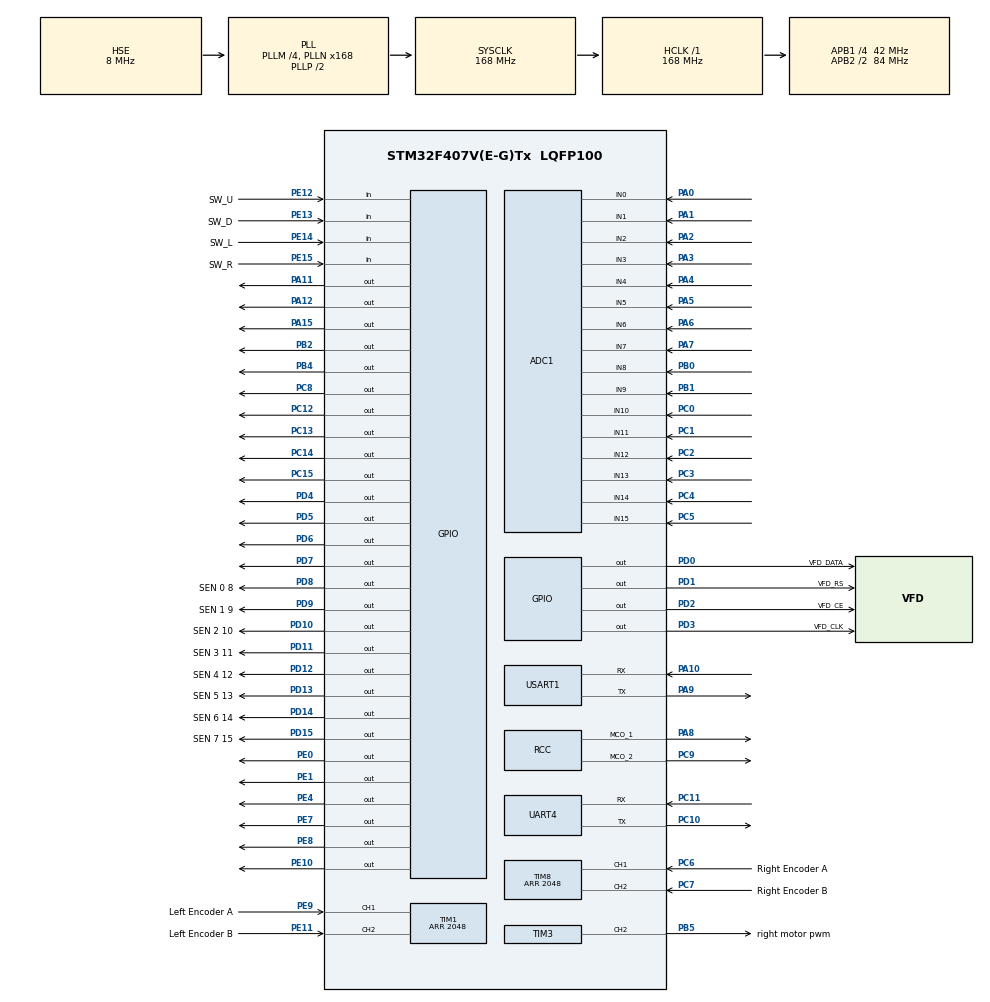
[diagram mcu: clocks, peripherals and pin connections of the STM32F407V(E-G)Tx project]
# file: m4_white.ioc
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ADC1.Channel-0\#ChannelRegularConversion=ADC_CHANNEL_0
ADC1.Channel-1\#ChannelRegularConversion=ADC_CHANNEL_1
ADC1.Channel-10\#ChannelRegularConversion=ADC_CHANNEL_10
ADC1.Channel-11\#ChannelRegularConversion=ADC_CHANNEL_11
ADC1.Channel-12\#ChannelRegularConversion=ADC_CHANNEL_12
ADC1.Channel-13\#ChannelRegularConversion=ADC_CHANNEL_13
ADC1.Channel-14\#ChannelRegularConversion=ADC_CHANNEL_14
ADC1.Channel-15\#ChannelRegularConversion=ADC_CHANNEL_15
ADC1.Channel-2\#ChannelRegularConversion=ADC_CHANNEL_2
ADC1.Channel-3\#ChannelRegularConversion=ADC_CHANNEL_3
ADC1.Channel-4\#ChannelRegularConversion=ADC_CHANNEL_4
ADC1.Channel-5\#ChannelRegularConversion=ADC_CHANNEL_5
ADC1.Channel-6\#ChannelRegularConversion=ADC_CHANNEL_6
ADC1.Channel-7\#ChannelRegularConversion=ADC_CHANNEL_7
ADC1.Channel-8\#ChannelRegularConversion=ADC_CHANNEL_8
ADC1.Channel-9\#ChannelRegularConversion=ADC_CHANNEL_9
ADC1.ContinuousConvMode=ENABLE
ADC1.DMAContinuousRequests=ENABLE
ADC1.EOCSelection=ADC_EOC_SEQ_CONV
ADC1.NbrOfConversion=16
ADC1.NbrOfConversionFlag=1
ADC1.Rank-0\#ChannelRegularConversion=1
ADC1.Rank-1\#ChannelRegularConversion=2
ADC1.Rank-10\#ChannelRegularConversion=11
ADC1.Rank-11\#ChannelRegularConversion=12
ADC1.Rank-12\#ChannelRegularConversion=13
ADC1.Rank-13\#ChannelRegularConversion=14
ADC1.Rank-14\#ChannelRegularConversion=15
ADC1.Rank-15\#ChannelRegularConversion=16
ADC1.Rank-2\#ChannelRegularConversion=3
ADC1.Rank-3\#ChannelRegularConversion=4
ADC1.Rank-4\#ChannelRegularConversion=5
ADC1.Rank-5\#ChannelRegularConversion=6
ADC1.Rank-6\#ChannelRegularConversion=7
ADC1.Rank-7\#ChannelRegularConversion=8
ADC1.Rank-8\#ChannelRegularConversion=9
ADC1.Rank-9\#ChannelRegularConversion=10
ADC1.SamplingTime-0\#ChannelRegularConversion=ADC_SAMPLETIME_28CYCLES
ADC1.SamplingTime-1\#ChannelRegularConversion=ADC_SAMPLETIME_28CYCLES
ADC1.SamplingTime-10\#ChannelRegularConversion=ADC_SAMPLETIME_28CYCLES
ADC1.SamplingTime-11\#ChannelRegularConversion=ADC_SAMPLETIME_28CYCLES
ADC1.SamplingTime-12\#ChannelRegularConversion=ADC_SAMPLETIME_28CYCLES
ADC1.SamplingTime-13\#ChannelRegularConversion=ADC_SAMPLETIME_28CYCLES
ADC1.SamplingTime-14\#ChannelRegularConversion=ADC_SAMPLETIME_28CYCLES
ADC1.SamplingTime-15\#ChannelRegularConversion=ADC_SAMPLETIME_28CYCLES
ADC1.SamplingTime-2\#ChannelRegularConversion=ADC_SAMPLETIME_28CYCLES
ADC1.SamplingTime-3\#ChannelRegularConversion=ADC_SAMPLETIME_28CYCLES
ADC1.SamplingTime-4\#ChannelRegularConversion=ADC_SAMPLETIME_28CYCLES
ADC1.SamplingTime-5\#ChannelRegularConversion=ADC_SAMPLETIME_28CYCLES
ADC1.SamplingTime-6\#ChannelRegularConversion=ADC_SAMPLETIME_28CYCLES
ADC1.SamplingTime-7\#ChannelRegularConversion=ADC_SAMPLETIME_28CYCLES
ADC1.SamplingTime-8\#ChannelRegularConversion=ADC_SAMPLETIME_28CYCLES
ADC1.SamplingTime-9\#ChannelRegularConversion=ADC_SAMPLETIME_28CYCLES
ADC1.ScanConvMode=ENABLE
ADC1.master=1
Dma.ADC1.0.Direction=DMA_PERIPH_TO_MEMORY
Dma.ADC1.0.FIFOMode=DMA_FIFOMODE_DISABLE
Dma.ADC1.0.Instance=DMA2_Stream0
Dma.ADC1.0.MemDataAlignment=DMA_MDATAALIGN_WORD
Dma.ADC1.0.MemInc=DMA_MINC_ENABLE
Dma.ADC1.0.Mode=DMA_CIRCULAR
Dma.ADC1.0.PeriphDataAlignment=DMA_PDATAALIGN_WORD
Dma.ADC1.0.PeriphInc=DMA_PINC_DISABLE
Dma.ADC1.0.Priority=DMA_PRIORITY_HIGH
Dma.Request0=ADC1
Mcu.Family=STM32F4
Mcu.Name=STM32F407V(E-G)Tx
Mcu.Package=LQFP100
NVIC.ADC_IRQn=true\:0\:0\:false\:false\:true\:true\:true\:true
NVIC.DMA2_Stream0_IRQn=true\:0\:0\:false\:false\:true\:false\:true\:true
NVIC.PriorityGroup=NVIC_PRIORITYGROUP_4
NVIC.TIM1_BRK_TIM9_IRQn=true\:0\:0\:false\:false\:true\:true\:true\:true
NVIC.TIM4_IRQn=true\:0\:0\:false\:false\:true\:true\:true\:true
PA0-WKUP.Signal=ADCx_IN0
PA1.Signal=ADCx_IN1
PA10.Mode=Asynchronous
PA10.Signal=USART1_RX
PA11.Signal=GPIO_Output
PA12.Signal=GPIO_Output
PA13.Mode=Serial_Wire
PA13.Signal=SYS_JTMS-SWDIO
PA14.Mode=Serial_Wire
PA14.Signal=SYS_JTCK-SWCLK
PA15.Signal=GPIO_Output
PA2.Signal=ADCx_IN2
PA3.Signal=ADCx_IN3
PA4.Signal=ADCx_IN4
PA5.Signal=ADCx_IN5
PA6.Signal=ADCx_IN6
PA7.Signal=ADCx_IN7
PA8.Mode=Clock-out-1
PA8.Signal=RCC_MCO_1
PA9.Mode=Asynchronous
PA9.Signal=USART1_TX
PB0.Signal=ADCx_IN8
PB1.Signal=ADCx_IN9
PB10.Signal=I2C2_SCL
PB11.Signal=I2C2_SDA
PB12.Signal=SPI2_NSS
PB13.Signal=SPI2_SCK
PB14.Signal=SPI2_MISO
PB15.Signal=SPI2_MOSI
PB2.Signal=GPIO_Output
PB3.Signal=SYS_JTDO-SWO
PB4.Signal=GPIO_Output
PB5.GPIO_Label=right motor pwm
PB5.Signal=S_TIM3_CH2
PB6.GPIO_Label=Motor Timer A
PB6.Signal=S_TIM4_CH1
PB7.GPIO_Label=Motor Timer B
PB7.Signal=S_TIM4_CH2
PB8.Signal=I2C1_SCL
PB9.Signal=I2C1_SDA
PC0.Signal=ADCx_IN10
PC1.Signal=ADCx_IN11
PC10.Mode=Asynchronous
PC10.Signal=UART4_TX
PC11.Mode=Asynchronous
PC11.Signal=UART4_RX
PC12.Signal=GPIO_Output
PC13-ANTI_TAMP.Signal=GPIO_Output
PC14-OSC32_IN.Signal=GPIO_Output
PC15-OSC32_OUT.Signal=GPIO_Output
PC2.Signal=ADCx_IN12
PC3.Signal=ADCx_IN13
PC4.Signal=ADCx_IN14
PC5.Signal=ADCx_IN15
PC6.GPIO_Label=Right Encoder A
PC6.Signal=S_TIM8_CH1
PC7.GPIO_Label=Right Encoder B
PC7.Signal=S_TIM8_CH2
PC8.Signal=GPIO_Output
PC9.Mode=Clock-out-2
PC9.Signal=RCC_MCO_2
PD0.GPIO_Label=VFD_DATA
PD0.Signal=GPIO_Output
PD1.GPIO_Label=VFD_RS
PD1.Signal=GPIO_Output
PD10.GPIO_Label=SEN 2 10
PD10.Signal=GPIO_Output
PD11.GPIO_Label=SEN 3 11
PD11.Signal=GPIO_Output
PD12.GPIO_Label=SEN 4 12
PD12.Signal=GPIO_Output
PD13.GPIO_Label=SEN 5 13
PD13.Signal=GPIO_Output
PD14.GPIO_Label=SEN 6 14
PD14.Signal=GPIO_Output
PD15.GPIO_Label=SEN 7 15
PD15.Signal=GPIO_Output
PD2.GPIO_Label=VFD_CE
PD2.Signal=GPIO_Output
PD3.GPIO_Label=VFD_CLK
PD3.Signal=GPIO_Output
PD4.Signal=GPIO_Output
PD5.Signal=GPIO_Output
PD6.Signal=GPIO_Output
PD7.Signal=GPIO_Output
PD8.GPIO_Label=SEN 0 8
PD8.Signal=GPIO_Output
PD9.GPIO_Label=SEN 1 9
PD9.Signal=GPIO_Output
PE0.Signal=GPIO_Output
PE1.Signal=GPIO_Output
PE10.Signal=GPIO_Output
PE11.GPIO_Label=Left Encoder B
PE11.Signal=S_TIM1_CH2
PE12.GPIO_Label=SW_U
PE12.Signal=GPIO_Input
PE13.GPIO_Label=SW_D
PE13.Signal=GPIO_Input
PE14.GPIO_Label=SW_L
PE14.Signal=GPIO_Input
PE15.GPIO_Label=SW_R
PE15.Signal=GPIO_Input
PE2.Signal=SYS_TRACECLK
PE3.Signal=SYS_TRACED0
PE4.Signal=GPIO_Output
PE5.GPIO_Label=Sensor Timer A
PE5.Signal=S_TIM9_CH1
PE6.GPIO_Label=Sensor Timer B
PE6.Signal=S_TIM9_CH2
PE7.Signal=GPIO_Output
PE8.Signal=GPIO_Output
PE9.GPIO_Label=Left Encoder A
PE9.Signal=S_TIM1_CH1
PH0-OSC_IN.Mode=HSE-External-Oscillator
PH0-OSC_IN.Signal=RCC_OSC_IN
PH1-OSC_OUT.Mode=HSE-External-Oscillator
PH1-OSC_OUT.Signal=RCC_OSC_OUT
ProjectManager.HeapSize=0x200
ProjectManager.StackSize=0x400
ProjectManager.TargetToolchain=Makefile
RCC.48MHZClocksFreq_Value=84000000
RCC.AHBFreq_Value=168000000
RCC.APB1CLKDivider=RCC_HCLK_DIV4
RCC.APB1Freq_Value=42000000
RCC.APB1TimFreq_Value=84000000
RCC.APB2CLKDivider=RCC_HCLK_DIV2
RCC.APB2Freq_Value=84000000
RCC.APB2TimFreq_Value=168000000
RCC.CortexFreq_Value=168000000
RCC.HCLKFreq_Value=168000000
RCC.HSE_VALUE=8000000
RCC.HSI_VALUE=16000000
RCC.LSE_VALUE=32768
RCC.PLLM=4
RCC.PLLN=168
RCC.PLLSourceVirtual=RCC_PLLSOURCE_HSE
RCC.SYSCLKFreq_VALUE=168000000
RCC.SYSCLKSource=RCC_SYSCLKSOURCE_PLLCLK
RCC.VCOOutputFreq_Value=336000000
SH.ADCx_IN0.0=ADC1_IN0,IN0
SH.ADCx_IN1.0=ADC1_IN1,IN1
SH.ADCx_IN10.0=ADC1_IN10,IN10
SH.ADCx_IN11.0=ADC1_IN11,IN11
SH.ADCx_IN12.0=ADC1_IN12,IN12
SH.ADCx_IN13.0=ADC1_IN13,IN13
SH.ADCx_IN14.0=ADC1_IN14,IN14
SH.ADCx_IN15.0=ADC1_IN15,IN15
SH.ADCx_IN2.0=ADC1_IN2,IN2
SH.ADCx_IN3.0=ADC1_IN3,IN3
SH.ADCx_IN4.0=ADC1_IN4,IN4
SH.ADCx_IN5.0=ADC1_IN5,IN5
SH.ADCx_IN6.0=ADC1_IN6,IN6
SH.ADCx_IN7.0=ADC1_IN7,IN7
SH.ADCx_IN8.0=ADC1_IN8,IN8
SH.ADCx_IN9.0=ADC1_IN9,IN9
SH.S_TIM1_CH1.0=TIM1_CH1,Encoder_Interface
SH.S_TIM1_CH2.0=TIM1_CH2,Encoder_Interface
SH.S_TIM3_CH2.0=TIM3_CH2,PWM Generation2 CH2
SH.S_TIM4_CH1.0=TIM4_CH1
SH.S_TIM4_CH2.0=TIM4_CH2
SH.S_TIM8_CH1.0=TIM8_CH1,Encoder_Interface
SH.S_TIM8_CH2.0=TIM8_CH2,Encoder_Interface
SH.S_TIM9_CH1.0=TIM9_CH1
SH.S_TIM9_CH2.0=TIM9_CH2
TIM1.EncoderMode=TIM_ENCODERMODE_TI12
TIM1.Period=2048
TIM3.Channel-PWM\ Generation2\ CH2=TIM_CHANNEL_2
TIM3.Period=1680 - 1
TIM3.Prescaler=1 - 1
TIM4.Period=25 - 1
TIM4.Prescaler=840 - 1
TIM8.EncoderMode=TIM_ENCODERMODE_TI12
TIM8.Period=2048
TIM9.Period=25 - 1
TIM9.Prescaler=168 - 1
UART4.VirtualMode=Asynchronous
USART1.VirtualMode=VM_ASYNC
VP_ADC1_TempSens_Input.Mode=IN-TempSens
VP_ADC1_Vref_Input.Mode=IN-Vrefint
VP_TIM4_VS_ClockSourceINT.Mode=Internal
VP_TIM9_VS_ClockSourceINT.Mode=Internal
board=custom

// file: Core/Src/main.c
/* USER CODE BEGIN Header */
/**
  ******************************************************************************
  * @file           : main.c
  * @brief          : Main program body
  ******************************************************************************
  * @attention
  *
  * Copyright (c) 2023 STMicroelectronics.
  * All rights reserved.
  *
  * This software is licensed under terms that can be found in the LICENSE file
  * in the root directory of this software component.
  * If no LICENSE file comes with this software, it is provided AS-IS.
  *
  ******************************************************************************
  */
/* USER CODE END Header */
#include "main.h"
#include "adc.h"
#include "dma.h"
#include "tim.h"
#include "usart.h"
#include "gpio.h"

/* USER CODE BEGIN Includes */
#define _MAIN_
#define __STRUCT__

#include "device.h"
/* USER CODE END Includes */

void SystemClock_Config(void);

int main(void)
{

  /* MCU Configuration--------------------------------------------------------*/

  /* Reset of all peripherals, Initializes the Flash interface and the Systick. */
  HAL_Init();

  /* Configure the system clock */
  SystemClock_Config();

  /* Initialize all configured peripherals */
  MX_GPIO_Init();
  MX_DMA_Init();
  MX_UART4_Init();
  MX_TIM4_Init();
  MX_ADC1_Init();
  MX_TIM1_Init();
  MX_TIM8_Init();
  MX_USART1_UART_Init();
  MX_TIM9_Init();
  MX_TIM3_Init();
  /* USER CODE BEGIN 2 */

  //HAL_TIM_PWM_Start(&htim3, TIM_CHANNEL_1);			// 	left motor pwm
  HAL_TIM_PWM_Start(&htim3, TIM_CHANNEL_2);			// 	right motor pwm

  HAL_TIM_Encoder_Start(&htim1, TIM_CHANNEL_ALL);	//	left motor encorer
  HAL_TIM_Encoder_Start(&htim8, TIM_CHANNEL_ALL);	//	right motor encoder

  init_motor_variable(&r_motor);
  init_motor_variable(&l_motor);

  HAL_TIM_Base_Start_IT(&htim4);					// 	start motor interrupt
  g_int32_sen_cnt = 0;
  memset((void *)g_sen, 0x00u, sizeof(g_sen));
  PrintMenu();
  /* USER CODE END 2 */

  /* Infinite loop */
  while (1)
  {

    /* USER CODE BEGIN 3 */

	TxPrintf("sen : [%d] ", g_int32_sen_cnt);
    for(int i = 0; i < 16; i++)
	{
		//if(g_int32_sen_cnt ==
		TxPrintf("[%lu] ", g_sen[i]);
	}
	TxPrintf("\n");
  }
  /* USER CODE END 3 */
}

void SystemClock_Config(void)
{
  RCC_OscInitTypeDef RCC_OscInitStruct = {0};
  RCC_ClkInitTypeDef RCC_ClkInitStruct = {0};

  /** Configure the main internal regulator output voltage
  */
  __HAL_RCC_PWR_CLK_ENABLE();
  __HAL_PWR_VOLTAGESCALING_CONFIG(PWR_REGULATOR_VOLTAGE_SCALE1);

  /** Initializes the RCC Oscillators according to the specified parameters
  * in the RCC_OscInitTypeDef structure.
  */
  RCC_OscInitStruct.OscillatorType = RCC_OSCILLATORTYPE_HSI|RCC_OSCILLATORTYPE_HSE;
  RCC_OscInitStruct.HSEState = RCC_HSE_ON;
  RCC_OscInitStruct.HSIState = RCC_HSI_ON;
  RCC_OscInitStruct.HSICalibrationValue = RCC_HSICALIBRATION_DEFAULT;
  RCC_OscInitStruct.PLL.PLLState = RCC_PLL_ON;
  RCC_OscInitStruct.PLL.PLLSource = RCC_PLLSOURCE_HSE;
  RCC_OscInitStruct.PLL.PLLM = 4;
  RCC_OscInitStruct.PLL.PLLN = 168;
  RCC_OscInitStruct.PLL.PLLP = RCC_PLLP_DIV2;
  RCC_OscInitStruct.PLL.PLLQ = 4;
  if (HAL_RCC_OscConfig(&RCC_OscInitStruct) != HAL_OK)
  {
    Error_Handler();
  }

  /** Initializes the CPU, AHB and APB buses clocks
  */
  RCC_ClkInitStruct.ClockType = RCC_CLOCKTYPE_HCLK|RCC_CLOCKTYPE_SYSCLK
                              |RCC_CLOCKTYPE_PCLK1|RCC_CLOCKTYPE_PCLK2;
  RCC_ClkInitStruct.SYSCLKSource = RCC_SYSCLKSOURCE_PLLCLK;
  RCC_ClkInitStruct.AHBCLKDivider = RCC_SYSCLK_DIV1;
  RCC_ClkInitStruct.APB1CLKDivider = RCC_HCLK_DIV4;
  RCC_ClkInitStruct.APB2CLKDivider = RCC_HCLK_DIV2;

  if (HAL_RCC_ClockConfig(&RCC_ClkInitStruct, FLASH_LATENCY_5) != HAL_OK)
  {
    Error_Handler();
  }
  HAL_RCC_MCOConfig(RCC_MCO1, RCC_MCO1SOURCE_HSI, RCC_MCODIV_1);
  HAL_RCC_MCOConfig(RCC_MCO2, RCC_MCO2SOURCE_SYSCLK, RCC_MCODIV_1);
}

void Error_Handler(void)
{
  /* USER CODE BEGIN Error_Handler_Debug */
  /* User can add his own implementation to report the HAL error return state */
  __disable_irq();
  while (1)
  {
  	TxPrintf("Error\n");
  }
  /* USER CODE END Error_Handler_Debug */
}
